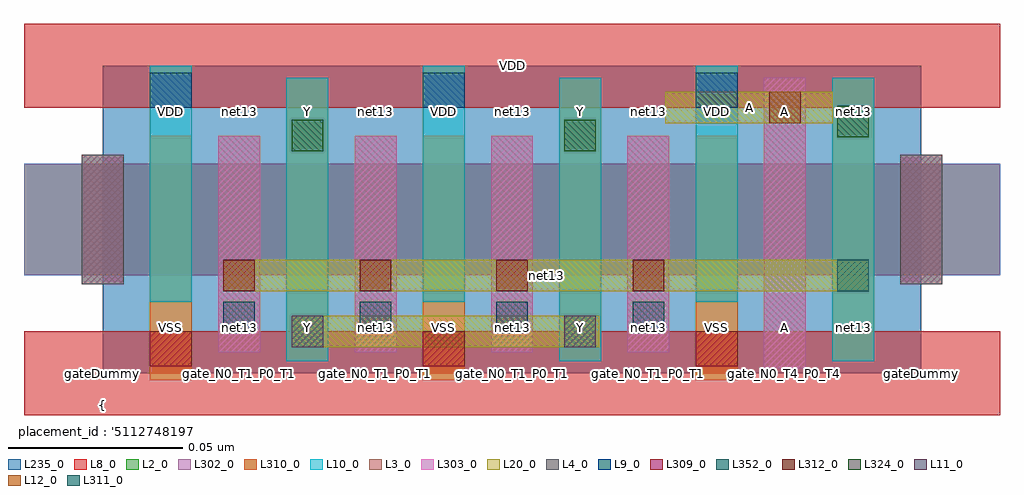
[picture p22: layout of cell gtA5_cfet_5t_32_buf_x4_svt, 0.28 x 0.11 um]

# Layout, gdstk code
import gdstk
lib = gdstk.Library(unit=1e-6, precision=2.5e-10)
def R(c, l, rs):  # rectangles x0, y0, x1, y1
    for r in rs: c.add(gdstk.rectangle(r[:2], r[2:], *l))
def A(c, l, x, y, w, h, nx, ny, dx, dy):  # array of equal rectangles
    R(c, l, [(x+i*dx, y+j*dy, x+i*dx+w, y+j*dy+h) for i in range(nx) for j in range(ny)])
L2_0 = (2, 0)
L3_0 = (3, 0)
L4_0 = (4, 0)
L8_0 = (8, 0)
L9_0 = (9, 0)
L10_0 = (10, 0)
L11_0 = (11, 0)
L12_0 = (12, 0)
L20_0 = (20, 0)
L235_0 = (235, 0)
L302_0 = (302, 0)
L303_0 = (303, 0)
L309_0 = (309, 0)
L310_0 = (310, 0)
L311_0 = (311, 0)
L312_0 = (312, 0)
L324_0 = (324, 0)
L352_0 = (352, 0)

gta5_cfet_5t_32_buf_x4_s = lib.new_cell('gtA5_cfet_5t_32_buf_x4_svt')
R(gta5_cfet_5t_32_buf_x4_s, L2_0, [(-0.0225,0.028,0.2565,0.06)])
A(gta5_cfet_5t_32_buf_x4_s, L3_0, 0.033, 0.006, 0.012, 0.062, 4, 1, 0.039, 0)
R(gta5_cfet_5t_32_buf_x4_s, L3_0, [(0.189,0.0015,0.201,0.0845), (-0.006,0.0255,0.006,0.0625), (0.228,0.0255,0.24,0.0625)])
R(gta5_cfet_5t_32_buf_x4_s, L4_0, [(-0.006,0.0255,0.006,0.0625), (0.228,0.0255,0.24,0.0625)])
R(gta5_cfet_5t_32_buf_x4_s, L8_0, [(-0.0225,-0.012,0.2565,0.012), (-0.0225,0.076,0.2565,0.1)])
A(gta5_cfet_5t_32_buf_x4_s, L9_0, 0.0135, 0.076, 0.012, 0.01, 3, 1, 0.078, 0)
A(gta5_cfet_5t_32_buf_x4_s, L10_0, 0.0525, 0.0035, 0.012, 0.081, 3, 1, 0.078, 0)
A(gta5_cfet_5t_32_buf_x4_s, L10_0, 0.0135, 0.0205, 0.012, 0.0675, 3, 1, 0.078, 0)
R(gta5_cfet_5t_32_buf_x4_s, L11_0, [(0.054,0.0075,0.063,0.0165), (0.132,0.0075,0.141,0.0165)])
R(gta5_cfet_5t_32_buf_x4_s, L12_0, [(0.1905,0.0715,0.1995,0.0805)])
R(gta5_cfet_5t_32_buf_x4_s, L20_0, [(0.054,0.0075,0.142,0.0165), (0.0345,0.0235,0.219,0.0325), (0.1608,0.0715,0.2087,0.0805)])
R(gta5_cfet_5t_32_buf_x4_s, L235_0, [(0,0,0.234,0.088)])
R(gta5_cfet_5t_32_buf_x4_s, L302_0, [(-0.0225,0.028,0.2565,0.06)])
A(gta5_cfet_5t_32_buf_x4_s, L303_0, 0.033, 0.006, 0.012, 0.062, 4, 1, 0.039, 0)
R(gta5_cfet_5t_32_buf_x4_s, L303_0, [(0.189,0.0015,0.201,0.0845), (-0.006,0.0255,0.006,0.0625), (0.228,0.0255,0.24,0.0625)])
A(gta5_cfet_5t_32_buf_x4_s, L309_0, 0.0135, 0.002, 0.012, 0.01, 3, 1, 0.078, 0)
A(gta5_cfet_5t_32_buf_x4_s, L310_0, 0.0135, -0.002, 0.012, 0.07, 3, 1, 0.078, 0)
A(gta5_cfet_5t_32_buf_x4_s, L310_0, 0.0525, 0.0035, 0.012, 0.081, 3, 1, 0.078, 0)
R(gta5_cfet_5t_32_buf_x4_s, L311_0, [(0.21,0.0235,0.219,0.0325)])
A(gta5_cfet_5t_32_buf_x4_s, L312_0, 0.0345, 0.0235, 0.009, 0.009, 4, 1, 0.039, 0)
R(gta5_cfet_5t_32_buf_x4_s, L324_0, [(0.054,0.0635,0.063,0.0725), (0.132,0.0635,0.141,0.0725), (0.21,0.0675,0.219,0.0765)])
A(gta5_cfet_5t_32_buf_x4_s, L352_0, 0.0345, 0.0115, 0.009, 0.009, 4, 1, 0.039, 0)
gta5_cfet_5t_32_buf_x4_s.add(gdstk.Label('net13', (0.1268,0.028), layer=100, texttype=100))
gta5_cfet_5t_32_buf_x4_s.add(gdstk.Label('gateDummy', (0,0), layer=103, texttype=103))
gta5_cfet_5t_32_buf_x4_s.add(gdstk.Label('sd_N0_VSS_P0_VDD', (0.0195,0), layer=103, texttype=103))
gta5_cfet_5t_32_buf_x4_s.add(gdstk.Label('gate_N0_T1_P0_T1', (0.039,0), layer=103, texttype=103))
gta5_cfet_5t_32_buf_x4_s.add(gdstk.Label('sd_N0_T0_P0_T0', (0.0585,0), layer=103, texttype=103))
gta5_cfet_5t_32_buf_x4_s.add(gdstk.Label('gate_N0_T1_P0_T1', (0.078,0), layer=103, texttype=103))
gta5_cfet_5t_32_buf_x4_s.add(gdstk.Label('sd_N0_VSS_P0_VDD', (0.0975,0), layer=103, texttype=103))
gta5_cfet_5t_32_buf_x4_s.add(gdstk.Label('gate_N0_T1_P0_T1', (0.117,0), layer=103, texttype=103))
gta5_cfet_5t_32_buf_x4_s.add(gdstk.Label('sd_N0_T0_P0_T0', (0.1365,0), layer=103, texttype=103))
gta5_cfet_5t_32_buf_x4_s.add(gdstk.Label('gate_N0_T1_P0_T1', (0.156,0), layer=103, texttype=103))
gta5_cfet_5t_32_buf_x4_s.add(gdstk.Label('sd_N0_VSS_P0_VDD', (0.1755,0), layer=103, texttype=103))
gta5_cfet_5t_32_buf_x4_s.add(gdstk.Label('gate_N0_T4_P0_T4', (0.195,0), layer=103, texttype=103))
gta5_cfet_5t_32_buf_x4_s.add(gdstk.Label('sd_N0_T1_P0_T1', (0.2145,0), layer=103, texttype=103))
gta5_cfet_5t_32_buf_x4_s.add(gdstk.Label('gateDummy', (0.234,0), layer=103, texttype=103))
gta5_cfet_5t_32_buf_x4_s.add(gdstk.Label('}', (0,-0.0963), layer=104, texttype=104))
gta5_cfet_5t_32_buf_x4_s.add(gdstk.Label('  power : None', (0,-0.0875), layer=104, texttype=104))
gta5_cfet_5t_32_buf_x4_s.add(gdstk.Label('  performance : None', (0,-0.0788), layer=104, texttype=104))
gta5_cfet_5t_32_buf_x4_s.add(gdstk.Label("  solution_hash : '5783344779668013119'", (0,-0.07), layer=104, texttype=104))
gta5_cfet_5t_32_buf_x4_s.add(gdstk.Label('  number_m2 : 0', (0,-0.0612), layer=104, texttype=104))
gta5_cfet_5t_32_buf_x4_s.add(gdstk.Label('  number_m1 : 0', (0,-0.0525), layer=104, texttype=104))
gta5_cfet_5t_32_buf_x4_s.add(gdstk.Label('  number_m0cuts : 0', (0,-0.0438), layer=104, texttype=104))
gta5_cfet_5t_32_buf_x4_s.add(gdstk.Label('  number_m0 : 3', (0,-0.035), layer=104, texttype=104))
gta5_cfet_5t_32_buf_x4_s.add(gdstk.Label("  solution_number : '0000'", (0,-0.0262), layer=104, texttype=104))
gta5_cfet_5t_32_buf_x4_s.add(gdstk.Label("  placement_id : '5112748197126580834'", (0,-0.0175), layer=104, texttype=104))
gta5_cfet_5t_32_buf_x4_s.add(gdstk.Label('{', (0,-0.0088), layer=104, texttype=104))
gta5_cfet_5t_32_buf_x4_s.add(gdstk.Label('VSS', (0.0195,0.0132), layer=105, texttype=105))
gta5_cfet_5t_32_buf_x4_s.add(gdstk.Label('net13', (0.039,0.0132), layer=105, texttype=105))
gta5_cfet_5t_32_buf_x4_s.add(gdstk.Label('Y', (0.0585,0.0132), layer=105, texttype=105))
gta5_cfet_5t_32_buf_x4_s.add(gdstk.Label('net13', (0.078,0.0132), layer=105, texttype=105))
gta5_cfet_5t_32_buf_x4_s.add(gdstk.Label('VSS', (0.0975,0.0132), layer=105, texttype=105))
gta5_cfet_5t_32_buf_x4_s.add(gdstk.Label('net13', (0.117,0.0132), layer=105, texttype=105))
gta5_cfet_5t_32_buf_x4_s.add(gdstk.Label('Y', (0.1365,0.0132), layer=105, texttype=105))
gta5_cfet_5t_32_buf_x4_s.add(gdstk.Label('net13', (0.156,0.0132), layer=105, texttype=105))
gta5_cfet_5t_32_buf_x4_s.add(gdstk.Label('VSS', (0.1755,0.0132), layer=105, texttype=105))
gta5_cfet_5t_32_buf_x4_s.add(gdstk.Label('A', (0.195,0.0132), layer=105, texttype=105))
gta5_cfet_5t_32_buf_x4_s.add(gdstk.Label('net13', (0.2145,0.0132), layer=105, texttype=105))
gta5_cfet_5t_32_buf_x4_s.add(gdstk.Label('VDD', (0.0195,0.0747), layer=105, texttype=105))
gta5_cfet_5t_32_buf_x4_s.add(gdstk.Label('net13', (0.039,0.0747), layer=105, texttype=105))
gta5_cfet_5t_32_buf_x4_s.add(gdstk.Label('Y', (0.0585,0.0747), layer=105, texttype=105))
gta5_cfet_5t_32_buf_x4_s.add(gdstk.Label('net13', (0.078,0.0747), layer=105, texttype=105))
gta5_cfet_5t_32_buf_x4_s.add(gdstk.Label('VDD', (0.0975,0.0747), layer=105, texttype=105))
gta5_cfet_5t_32_buf_x4_s.add(gdstk.Label('net13', (0.117,0.0747), layer=105, texttype=105))
gta5_cfet_5t_32_buf_x4_s.add(gdstk.Label('Y', (0.1365,0.0747), layer=105, texttype=105))
gta5_cfet_5t_32_buf_x4_s.add(gdstk.Label('net13', (0.156,0.0747), layer=105, texttype=105))
gta5_cfet_5t_32_buf_x4_s.add(gdstk.Label('VDD', (0.1755,0.0747), layer=105, texttype=105))
gta5_cfet_5t_32_buf_x4_s.add(gdstk.Label('A', (0.195,0.0747), layer=105, texttype=105))
gta5_cfet_5t_32_buf_x4_s.add(gdstk.Label('net13', (0.2145,0.0747), layer=105, texttype=105))
gta5_cfet_5t_32_buf_x4_s.add(gdstk.Label('VSS', (0.117,0), layer=8, texttype=0))
gta5_cfet_5t_32_buf_x4_s.add(gdstk.Label('VDD', (0.117,0.088), layer=8, texttype=0))
gta5_cfet_5t_32_buf_x4_s.add(gdstk.Label('Y', (0.098,0.012), layer=20, texttype=251))
gta5_cfet_5t_32_buf_x4_s.add(gdstk.Label('A', (0.1847,0.076), layer=20, texttype=251))
gta5_cfet_5t_32_buf_x4_s.add(gdstk.Label('gtA5_cfet_5t_32_buf_x4_rvt_0', (0,0), layer=235, texttype=0))

lib.write_gds('gtA5_cfet_5t_32_buf_x4_svt.gds')
